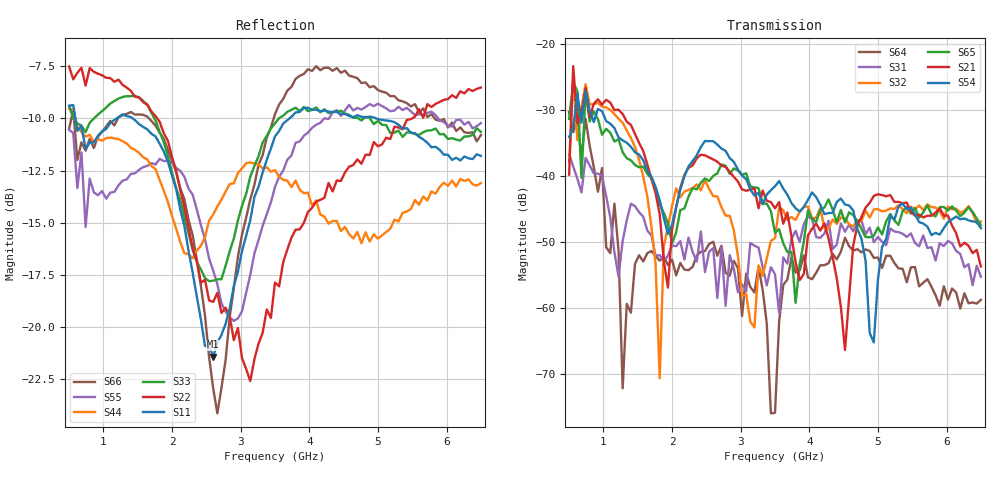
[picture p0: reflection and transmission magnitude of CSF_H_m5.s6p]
!Keysight Technologies,M9804A,MY58100912,A.14.10.03
!Date: Thursday, April 27, 2023 10:28:33
!Correction: S11(C  6-Port  )
!S12(C  6-Port  )
!S13(C  6-Port  )
!S14(C  6-Port  )
!S15(C  6-Port  )
!S16(C  6-Port  )
!S21(C  6-Port  )
!S22(C  6-Port  )
!S23(C  6-Port  )
!S24(C  6-Port  )
!S25(C  6-Port  )
!S26(C  6-Port  )
!S31(C  6-Port  )
!S32(C  6-Port  )
!S33(C  6-Port  )
!S34(C  6-Port  )
!S35(C  6-Port  )
!S36(C  6-Port  )
!S41(C  6-Port  )
!S42(C  6-Port  )
!S43(C  6-Port  )
!S44(C  6-Port  )
!S45(C  6-Port  )
!S46(C  6-Port  )
!S51(C  6-Port  )
!S52(C  6-Port  )
!S53(C  6-Port  )
!S54(C  6-Port  )
!S55(C  6-Port  )
!S56(C  6-Port  )
!S61(C  6-Port  )
!S62(C  6-Port  )
!S63(C  6-Port  )
!S64(C  6-Port  )
!S65(C  6-Port  )
!S66(C  6-Port  )
!S6P File: Measurement: :
# Hz S  RI  R 50
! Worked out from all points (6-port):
!   101 points, 500 MHz to 6.5 GHz, reference 50 ohm
!   strongest paths, dB at 500 MHz, 2 GHz, 3.5 GHz, 5 GHz, 6.5 GHz:
!     S54: -34.2, -47.4, -41.6, -55.8, -47.9
!     S21: -39.8, -48.2, -44.9, -42.8, -53.7
!     S65: -31.4, -50.3, -48.6, -47.8, -47.5
!     S32: -37.8, -44.6, -49.4, -45.1, -46.9
!     S31: -36.7, -50.5, -54.9, -49.3, -55.3
!     S64: -30.3, -52.7, -75.9, -52.4, -58.8
!   lowest |S11| = -21.4 dB at 2.6 GHz (marker M1), VSWR 1.18, Z = 42.5 + j2.17 ohm
!   |S11| at or under -10 dB: 591.2 MHz to 1.191 GHz (599.6 MHz wide, 67.3 % of centre); 1.428 GHz to 3.71 GHz (2.282 GHz wide, 88.8 % of centre); 4.977 GHz to end of sweep
